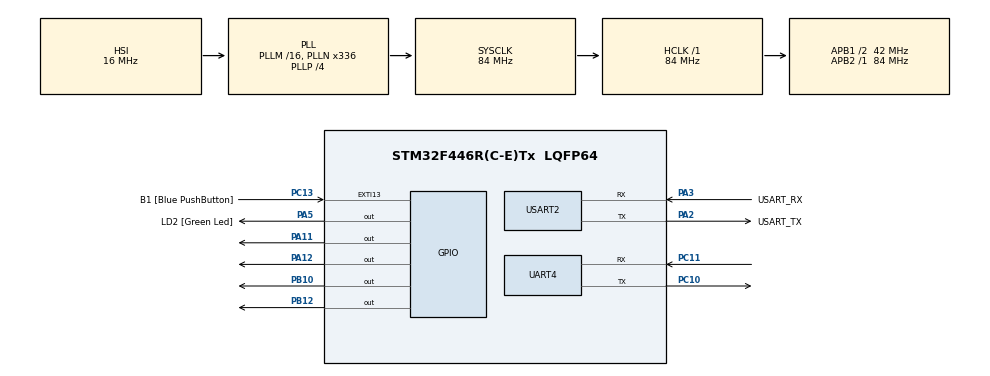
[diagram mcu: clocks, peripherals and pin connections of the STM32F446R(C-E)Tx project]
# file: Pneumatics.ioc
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Dma.Request0=UART4_RX
Dma.UART4_RX.0.Direction=DMA_PERIPH_TO_MEMORY
Dma.UART4_RX.0.FIFOMode=DMA_FIFOMODE_DISABLE
Dma.UART4_RX.0.Instance=DMA1_Stream2
Dma.UART4_RX.0.MemDataAlignment=DMA_MDATAALIGN_BYTE
Dma.UART4_RX.0.MemInc=DMA_MINC_ENABLE
Dma.UART4_RX.0.Mode=DMA_CIRCULAR
Dma.UART4_RX.0.PeriphDataAlignment=DMA_PDATAALIGN_BYTE
Dma.UART4_RX.0.PeriphInc=DMA_PINC_DISABLE
Dma.UART4_RX.0.Priority=DMA_PRIORITY_LOW
Mcu.Family=STM32F4
Mcu.Name=STM32F446R(C-E)Tx
Mcu.Package=LQFP64
NVIC.DMA1_Stream2_IRQn=true\:0\:0\:false\:false\:true\:false\:true\:true
NVIC.PriorityGroup=NVIC_PRIORITYGROUP_0
NVIC.UART4_IRQn=true\:0\:0\:false\:false\:true\:true\:true\:true
PA11.Signal=GPIO_Output
PA12.Signal=GPIO_Output
PA13.GPIO_Label=TMS
PA13.Mode=Serial_Wire
PA13.Signal=SYS_JTMS-SWDIO
PA14.GPIO_Label=TCK
PA14.Mode=Serial_Wire
PA14.Signal=SYS_JTCK-SWCLK
PA2.GPIO_Label=USART_TX
PA2.Mode=Asynchronous
PA2.Signal=USART2_TX
PA3.GPIO_Label=USART_RX
PA3.Mode=Asynchronous
PA3.Signal=USART2_RX
PA5.GPIO_Label=LD2 [Green Led]
PA5.Signal=GPIO_Output
PB10.Signal=GPIO_Output
PB12.Signal=GPIO_Output
PB3.GPIO_Label=SWO
PB3.Signal=SYS_JTDO-SWO
PC10.Mode=Asynchronous
PC10.Signal=UART4_TX
PC11.Mode=Asynchronous
PC11.Signal=UART4_RX
PC13.GPIO_Label=B1 [Blue PushButton]
PC13.GPIO_ModeDefaultEXTI=GPIO_MODE_IT_FALLING
PC13.Signal=GPXTI13
PC14-OSC32_IN.Mode=LSE-External-Oscillator
PC14-OSC32_IN.Signal=RCC_OSC32_IN
PC15-OSC32_OUT.Mode=LSE-External-Oscillator
PC15-OSC32_OUT.Signal=RCC_OSC32_OUT
PH0-OSC_IN.Mode=HSE-External-Oscillator
PH0-OSC_IN.Signal=RCC_OSC_IN
PH1-OSC_OUT.Mode=HSE-External-Oscillator
PH1-OSC_OUT.Signal=RCC_OSC_OUT
ProjectManager.HeapSize=0x200
ProjectManager.StackSize=0x400
ProjectManager.TargetToolchain=STM32CubeIDE
RCC.48MHZClocksFreq_Value=84000000
RCC.AHBFreq_Value=84000000
RCC.APB1CLKDivider=RCC_HCLK_DIV2
RCC.APB1Freq_Value=42000000
RCC.APB1TimFreq_Value=84000000
RCC.APB2Freq_Value=84000000
RCC.APB2TimFreq_Value=84000000
RCC.CortexFreq_Value=84000000
RCC.FLatency-AdvancedSettings=FLASH_LATENCY_2
RCC.HCLKFreq_Value=84000000
RCC.HSE_VALUE=8000000
RCC.HSI_VALUE=16000000
RCC.PLLN=336
RCC.PLLP=RCC_PLLP_DIV4
RCC.SYSCLKFreq_VALUE=84000000
RCC.SYSCLKSource=RCC_SYSCLKSOURCE_PLLCLK
RCC.USBFreq_Value=168000000
RCC.VCOOutputFreq_Value=336000000
UART4.VirtualMode=Asynchronous
USART2.VirtualMode=VM_ASYNC
board=NUCLEO-F446RE

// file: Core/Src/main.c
/* USER CODE BEGIN Header */
/**
 ******************************************************************************
 * @file           : main.c
 * @brief          : Main program body
 ******************************************************************************
 * @attention
 *
 * Copyright (c) 2025 STMicroelectronics.
 * All rights reserved.
 *
 * This software is licensed under terms that can be found in the LICENSE file
 * in the root directory of this software component.
 * If no LICENSE file comes with this software, it is provided AS-IS.
 *
 ******************************************************************************
 */
/* USER CODE END Header */
#include "main.h"

UART_HandleTypeDef huart4;
UART_HandleTypeDef huart2;
DMA_HandleTypeDef hdma_uart4_rx;

/* USER CODE BEGIN PV */
uint8_t rxbuff[16];
int32_t lx, ly, rx, ry, cro, squ, tri, cir, up, down, left, right, ll1, rr1,
		ll2, rr2, rL, rR;
static int prev_tri = 0;
static int prev_cir = 0;
static int prev_cro = 0;
static int prev_squ = 0;
static int state_tri = 0;
static int state_cir = 0;
static int state_cro = 0;
/* USER CODE END PV */

void SystemClock_Config(void);
static void MX_GPIO_Init(void);
static void MX_DMA_Init(void);
static void MX_USART2_UART_Init(void);
static void MX_UART4_Init(void);

/* USER CODE BEGIN 0 */
void HAL_UART_RxCpltCallback(UART_HandleTypeDef *huart) {
	HAL_UART_Receive_DMA(&huart4, rxbuff, 16);
}
/* USER CODE END 0 */

int main(void) {

	/* MCU Configuration--------------------------------------------------------*/

	/* Reset of all peripherals, Initializes the Flash interface and the Systick. */
	HAL_Init();

	/* Configure the system clock */
	SystemClock_Config();

	/* Initialize all configured peripherals */
	MX_GPIO_Init();
	MX_DMA_Init();
	MX_USART2_UART_Init();
	MX_UART4_Init();
	/* USER CODE BEGIN 2 */
	HAL_UART_Receive_DMA(&huart4, rxbuff, 16);
	/* USER CODE END 2 */

	/* Infinite loop */
	while (1) {

		/* USER CODE BEGIN 3 */
		/* ps5 controller */
		lx = (rxbuff[0] & 0x80) ?
				(int32_t) rxbuff[0] - 256 : (int32_t) rxbuff[0];
		ly = (rxbuff[1] & 0x80) ?
				(int32_t) rxbuff[1] - 256 : (int32_t) rxbuff[1];
		rx = (rxbuff[2] & 0x80) ?
				(int32_t) rxbuff[2] - 256 : (int32_t) rxbuff[2];
		ry = (rxbuff[3] & 0x80) ?
				(int32_t) rxbuff[3] - 256 : (int32_t) rxbuff[3];
		cro = (rxbuff[4] & 0x80) ?
				(int32_t) rxbuff[4] - 256 : (int32_t) rxbuff[4];
		squ = (rxbuff[5] & 0x80) ?
				(int32_t) rxbuff[5] - 256 : (int32_t) rxbuff[5];
		tri = (rxbuff[6] & 0x80) ?
				(int32_t) rxbuff[6] - 256 : (int32_t) rxbuff[6];
		cir = (rxbuff[7] & 0x80) ?
				(int32_t) rxbuff[7] - 256 : (int32_t) rxbuff[7];
		up = (rxbuff[8] & 0x80) ?
				(int32_t) rxbuff[8] - 256 : (int32_t) rxbuff[8];
		down = (rxbuff[9] & 0x80) ?
				(int32_t) rxbuff[9] - 256 : (int32_t) rxbuff[9];
		left = (rxbuff[10] & 0x80) ?
				(int32_t) rxbuff[10] - 256 : (int32_t) rxbuff[10];
		right = (rxbuff[11] & 0x80) ?
				(int32_t) rxbuff[11] - 256 : (int32_t) rxbuff[11];
		ll1 = (rxbuff[12] & 0x80) ?
				(int32_t) rxbuff[12] - 256 : (int32_t) rxbuff[12];
		ll2 = (rxbuff[13] & 0x80) ?
				(int32_t) rxbuff[13] - 256 : (int32_t) rxbuff[13];
		rr1 = (rxbuff[14] & 0x80) ?
				(int32_t) rxbuff[14] - 256 : (int32_t) rxbuff[14];
		rr2 = (rxbuff[15] & 0x80) ?
				(int32_t) rxbuff[15] - 256 : (int32_t) rxbuff[15];

		printf("Received Integers: %ld %ld %ld %ld %ld %ld %ld %ld States: %d %d %d\r\n", lx, ly,
				rx, ry, cro, squ, tri, cir, state_tri, state_cir, state_cro);

//	  if(tri == 1 && !prev_tri){
//		  HAL_GPIO_WritePin(GPIOA, GPIO_PIN_11, GPIO_PIN_SET);
//	  } else if (tri == 1 && prev_tri) {
//		  HAL_GPIO_WritePin(GPIOA, GPIO_PIN_11, GPIO_PIN_RESET);
//	  }
//	  if(cir == 1 && !prev_cir){
//		  HAL_GPIO_WritePin(GPIOA, GPIO_PIN_12, GPIO_PIN_SET);
//	  } else if(cir == 1 && prev_cir){
//		  HAL_GPIO_WritePin(GPIOA, GPIO_PIN_12, GPIO_PIN_RESET);
//	  }
//	  if(cro == 1 && !prev_cro){
//		  HAL_GPIO_WritePin(GPIOB, GPIO_PIN_12, GPIO_PIN_SET);
//	  } else if (cro == 1 && prev_cro){
//		  HAL_GPIO_WritePin(GPIOB, GPIO_PIN_12, GPIO_PIN_RESET);
//	  }

//	  if(tri == 1 || state_tri){
//		  HAL_GPIO_WritePin(GPIOA, GPIO_PIN_11, GPIO_PIN_SET);
//		  state_tri = 1;
//	  } else if (tri == 0 || state_tri) {
//		  HAL_GPIO_WritePin(GPIOA, GPIO_PIN_11, GPIO_PIN_RESET);
//		  state_tri = 0;
//	  }
//	  if(cir == 1 || state_cir){
//		  HAL_GPIO_WritePin(GPIOA, GPIO_PIN_12, GPIO_PIN_SET);
//		  state_cir = 1;
//	  } else if(cir == 0 || state_cir){
//		  HAL_GPIO_WritePin(GPIOA, GPIO_PIN_12, GPIO_PIN_RESET);
//		  state_cir = 0;
//	  }
//	  if(cro == 1 || state_cro){
//		  HAL_GPIO_WritePin(GPIOB, GPIO_PIN_12, GPIO_PIN_SET);
//		  state_cro = 1;
//	  } else if (cro == 0 || state_cro){
//		  HAL_GPIO_WritePin(GPIOB, GPIO_PIN_12, GPIO_PIN_RESET);
//		  state_cro = 1;
//	  }

//	  if(tri == 1 && !prev_tri){
//		  HAL_GPIO_WritePin(GPIOA, GPIO_PIN_11, GPIO_PIN_SET);
//	  }
//	  if(cir == 1 && !prev_cir){
//		  HAL_GPIO_WritePin(GPIOA, GPIO_PIN_12, GPIO_PIN_SET);
//	  }
//	  if(cro == 1 && !prev_cro){
//		  HAL_GPIO_WritePin(GPIOB, GPIO_PIN_12, GPIO_PIN_SET);
//	  }

		if (state_tri == 1) {
			HAL_GPIO_WritePin(GPIOA, GPIO_PIN_11, GPIO_PIN_SET);
		} else {
			HAL_GPIO_WritePin(GPIOA, GPIO_PIN_11, GPIO_PIN_RESET);
		}
		if (state_cir == 1) {
			HAL_GPIO_WritePin(GPIOA, GPIO_PIN_12, GPIO_PIN_SET);
		} else {
			HAL_GPIO_WritePin(GPIOA, GPIO_PIN_12, GPIO_PIN_RESET);
		}
		if (state_cro == 1) {
			HAL_GPIO_WritePin(GPIOB, GPIO_PIN_12, GPIO_PIN_SET);
		} else {
			HAL_GPIO_WritePin(GPIOB, GPIO_PIN_12, GPIO_PIN_RESET);
		}

		if(tri == 1 && !prev_tri){
			state_tri = !state_tri;
		}
		if(cir == 1 && !prev_cir){
			state_cir = !state_cir;
		}
		if(cro == 1 && !prev_cro){
			state_cro = !state_cro;
		}
//		if(squ == 1 && !prev_squ){
//			state_tri = 0;
//			state_cir = 0;
//			state_cro = 0;
//		}
	  prev_tri = tri;
	  prev_cir = cir;
	  prev_cro = cro;
	  prev_squ = squ;

//	  HAL_GPIO_WritePin(GPIOB, GPIO_PIN_10, GPIO_PIN_SET);
	}
	/* USER CODE END 3 */
}

void SystemClock_Config(void) {
	RCC_OscInitTypeDef RCC_OscInitStruct = { 0 };
	RCC_ClkInitTypeDef RCC_ClkInitStruct = { 0 };

	/** Configure the main internal regulator output voltage
	 */
	__HAL_RCC_PWR_CLK_ENABLE();
	__HAL_PWR_VOLTAGESCALING_CONFIG(PWR_REGULATOR_VOLTAGE_SCALE3);

	/** Initializes the RCC Oscillators according to the specified parameters
	 * in the RCC_OscInitTypeDef structure.
	 */
	RCC_OscInitStruct.OscillatorType = RCC_OSCILLATORTYPE_HSI;
	RCC_OscInitStruct.HSIState = RCC_HSI_ON;
	RCC_OscInitStruct.HSICalibrationValue = RCC_HSICALIBRATION_DEFAULT;
	RCC_OscInitStruct.PLL.PLLState = RCC_PLL_ON;
	RCC_OscInitStruct.PLL.PLLSource = RCC_PLLSOURCE_HSI;
	RCC_OscInitStruct.PLL.PLLM = 16;
	RCC_OscInitStruct.PLL.PLLN = 336;
	RCC_OscInitStruct.PLL.PLLP = RCC_PLLP_DIV4;
	RCC_OscInitStruct.PLL.PLLQ = 2;
	RCC_OscInitStruct.PLL.PLLR = 2;
	if (HAL_RCC_OscConfig(&RCC_OscInitStruct) != HAL_OK) {
		Error_Handler();
	}

	/** Initializes the CPU, AHB and APB buses clocks
	 */
	RCC_ClkInitStruct.ClockType = RCC_CLOCKTYPE_HCLK | RCC_CLOCKTYPE_SYSCLK
			| RCC_CLOCKTYPE_PCLK1 | RCC_CLOCKTYPE_PCLK2;
	RCC_ClkInitStruct.SYSCLKSource = RCC_SYSCLKSOURCE_PLLCLK;
	RCC_ClkInitStruct.AHBCLKDivider = RCC_SYSCLK_DIV1;
	RCC_ClkInitStruct.APB1CLKDivider = RCC_HCLK_DIV2;
	RCC_ClkInitStruct.APB2CLKDivider = RCC_HCLK_DIV1;

	if (HAL_RCC_ClockConfig(&RCC_ClkInitStruct, FLASH_LATENCY_2) != HAL_OK) {
		Error_Handler();
	}
}

static void MX_UART4_Init(void) {

	huart4.Instance = UART4;
	huart4.Init.BaudRate = 115200;
	huart4.Init.WordLength = UART_WORDLENGTH_8B;
	huart4.Init.StopBits = UART_STOPBITS_1;
	huart4.Init.Parity = UART_PARITY_NONE;
	huart4.Init.Mode = UART_MODE_TX_RX;
	huart4.Init.HwFlowCtl = UART_HWCONTROL_NONE;
	huart4.Init.OverSampling = UART_OVERSAMPLING_16;
	if (HAL_UART_Init(&huart4) != HAL_OK) {
		Error_Handler();
	}

}

static void MX_USART2_UART_Init(void) {

	huart2.Instance = USART2;
	huart2.Init.BaudRate = 115200;
	huart2.Init.WordLength = UART_WORDLENGTH_8B;
	huart2.Init.StopBits = UART_STOPBITS_1;
	huart2.Init.Parity = UART_PARITY_NONE;
	huart2.Init.Mode = UART_MODE_TX_RX;
	huart2.Init.HwFlowCtl = UART_HWCONTROL_NONE;
	huart2.Init.OverSampling = UART_OVERSAMPLING_16;
	if (HAL_UART_Init(&huart2) != HAL_OK) {
		Error_Handler();
	}

}

static void MX_DMA_Init(void) {

	/* DMA controller clock enable */
	__HAL_RCC_DMA1_CLK_ENABLE();

	/* DMA interrupt init */
	/* DMA1_Stream2_IRQn interrupt configuration */
	HAL_NVIC_SetPriority(DMA1_Stream2_IRQn, 0, 0);
	HAL_NVIC_EnableIRQ(DMA1_Stream2_IRQn);

}

static void MX_GPIO_Init(void) {
	GPIO_InitTypeDef GPIO_InitStruct = { 0 };

	/* GPIO Ports Clock Enable */
	__HAL_RCC_GPIOC_CLK_ENABLE();
	__HAL_RCC_GPIOH_CLK_ENABLE();
	__HAL_RCC_GPIOA_CLK_ENABLE();
	__HAL_RCC_GPIOB_CLK_ENABLE();

	/*Configure GPIO pin Output Level */
	HAL_GPIO_WritePin(GPIOA, LD2_Pin | GPIO_PIN_11 | GPIO_PIN_12,
			GPIO_PIN_RESET);

	/*Configure GPIO pin Output Level */
	HAL_GPIO_WritePin(GPIOB, GPIO_PIN_10 | GPIO_PIN_12, GPIO_PIN_RESET);

	/*Configure GPIO pin : B1_Pin */
	GPIO_InitStruct.Pin = B1_Pin;
	GPIO_InitStruct.Mode = GPIO_MODE_IT_FALLING;
	GPIO_InitStruct.Pull = GPIO_NOPULL;
	HAL_GPIO_Init(B1_GPIO_Port, &GPIO_InitStruct);

	/*Configure GPIO pins : LD2_Pin PA11 PA12 */
	GPIO_InitStruct.Pin = LD2_Pin | GPIO_PIN_11 | GPIO_PIN_12;
	GPIO_InitStruct.Mode = GPIO_MODE_OUTPUT_PP;
	GPIO_InitStruct.Pull = GPIO_NOPULL;
	GPIO_InitStruct.Speed = GPIO_SPEED_FREQ_LOW;
	HAL_GPIO_Init(GPIOA, &GPIO_InitStruct);

	/*Configure GPIO pins : PB10 PB12 */
	GPIO_InitStruct.Pin = GPIO_PIN_10 | GPIO_PIN_12;
	GPIO_InitStruct.Mode = GPIO_MODE_OUTPUT_PP;
	GPIO_InitStruct.Pull = GPIO_NOPULL;
	GPIO_InitStruct.Speed = GPIO_SPEED_FREQ_LOW;
	HAL_GPIO_Init(GPIOB, &GPIO_InitStruct);

}

/* USER CODE BEGIN 4 */
int _write(int file, char *ptr, int len) {
	HAL_UART_Transmit(&huart2, (uint8_t*) ptr, len, HAL_MAX_DELAY);
	return len;
}
/* USER CODE END 4 */

void Error_Handler(void) {
	__disable_irq();
	while (1) {
	}
}
